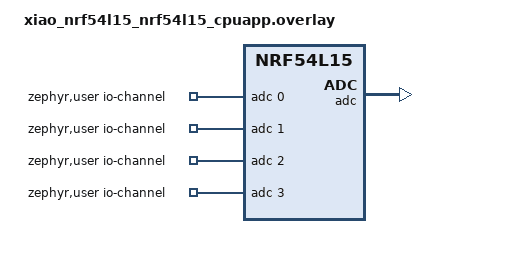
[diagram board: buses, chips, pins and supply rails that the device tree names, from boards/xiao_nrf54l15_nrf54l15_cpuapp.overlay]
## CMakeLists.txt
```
# SPDX-License-Identifier: Apache-2.0

cmake_minimum_required(VERSION 3.20.0)
# Boot-time reset reason readout, see lib/reset_reason
list(APPEND ZEPHYR_EXTRA_MODULES ${CMAKE_CURRENT_LIST_DIR}/../lib/reset_reason)
find_package(Zephyr REQUIRED HINTS $ENV{ZEPHYR_BASE})
project(adc_blink)

target_sources(app PRIVATE
  src/main.c
)
```

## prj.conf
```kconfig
CONFIG_ADC=y
CONFIG_PRINTK=y
CONFIG_PWM=y
CONFIG_LOG=y
```

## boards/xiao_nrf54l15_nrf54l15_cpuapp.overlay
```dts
/ {
    zephyr,user {
		/* XIAO nRF54L15 has 4 accessible analog pins:
		 * A0 = P1.04 (AIN0) - Potentiometer connected here
		 * A1 = P1.05 (AIN1)
		 * A2 = P1.06 (AIN2)
		 * A3 = P1.07 (AIN3)
		 */
		io-channels = <&adc 0>, <&adc 1>, <&adc 2>, <&adc 3>;
	};
};






&adc {
    status = "okay";
};
```

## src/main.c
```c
/*
 * ADC Variable Blink Sample
 * 
 * This sample demonstrates:
 * - Reading analog input from a potentiometer using ADC (Analog-to-Digital Converter)
 * - Converting ADC raw values to millivolts
 * - Controlling LED blink rate based on analog voltage
 * 
 * Hardware connections:
 * - Potentiometer connected to A0 (P1.04)
 * - Built-in LED on P2.0 will blink
 * 
 * Behavior:
 * - Turn pot LEFT (0V)    -> LED blinks SLOWLY (3.3 second intervals)
 * - Turn pot RIGHT (3.3V) -> LED blinks FAST (near-continuous)
 */

// Include Zephyr RTOS kernel functions (delays, threads, etc.)
#include <zephyr/kernel.h>

// Include ADC (Analog-to-Digital Converter) driver
#include <zephyr/drivers/adc.h>

// Include GPIO (General Purpose Input/Output) driver for LED control
#include <zephyr/drivers/gpio.h>

// Include logging system for debug output
#include <zephyr/logging/log.h>

// Register this module with the logging system
// Messages will appear with "adc_blink_example" prefix
LOG_MODULE_REGISTER(adc_blink_example, CONFIG_LOG_DEFAULT_LEVEL);

// ============================================================================
// ADC CONFIGURATION
// ============================================================================

// Compile-time check: Make sure the devicetree overlay file defines ADC channels
// If this fails, you forgot to include the board-specific overlay file
#if !DT_NODE_EXISTS(DT_PATH(zephyr_user)) || \
    !DT_NODE_HAS_PROP(DT_PATH(zephyr_user), io_channels)
#error "No suitable devicetree overlay specified for ADC channels"
#endif

// Macro helper: Gets ADC channel specifications from devicetree
// This is used by DT_FOREACH_PROP_ELEM below to build the adc_channels array
#define DT_SPEC_AND_COMMA(node_id, prop, idx) \
    ADC_DT_SPEC_GET_BY_IDX(node_id, idx),

// Array of ADC channel specifications from devicetree
// This is populated automatically from the overlay file which defines 4 channels (A0-A3)
static const struct adc_dt_spec adc_channels[] = {
    DT_FOREACH_PROP_ELEM(DT_PATH(zephyr_user), io_channels, DT_SPEC_AND_COMMA)
};

/* 
 * XIAO nRF54L15 has 4 accessible analog input pins:
 * 
 * Array Index | Header Pin | GPIO Pin | ADC Channel | Usage in this sample
 * ------------|------------|----------|-------------|---------------------
 *      0      |     A0     |  P1.04   |    AIN0     | Potentiometer input
 *      1      |     A1     |  P1.05   |    AIN1     | (unused)
 *      2      |     A2     |  P1.06   |    AIN2     | (unused)
 *      3      |     A3     |  P1.07   |    AIN3     | (unused)
 * 
 * To use a different pin, change this index (0-3)
 */
#define POTENTIOMETER_ADC_CHANNEL_IDX 0

// ============================================================================
// LED CONFIGURATION
// ============================================================================

// Get the devicetree node for the built-in LED
// "led0" is an alias defined in the board's devicetree files
#define LED0_NODE DT_ALIAS(led0)

// Get the GPIO specification (port, pin, flags) for the LED
// This LED is on P2.0 (GPIO port 2, pin 0)
static const struct gpio_dt_spec led = GPIO_DT_SPEC_GET(LED0_NODE, gpios);

// ============================================================================
// TIMING CONFIGURATION
// ============================================================================

// Minimum blink delay (when voltage is at maximum)
#define MIN_BLINK_MS 1

// Maximum blink delay (when voltage is at minimum)
// Set to 3330 to match the typical max voltage (3.3V = 3300mV)
#define MAX_BLINK_MS 3330

// ============================================================================
// MAIN FUNCTION
// ============================================================================

int main(void)
{
    // Return value for error checking (negative = error, 0 or positive = success)
    int ret;
    
    // Variable to store the raw ADC reading (0-4095 for 12-bit resolution)
    uint16_t adc_raw_value;
    
    // Variable to store the voltage in millivolts (mV)
    // Will be automatically calculated from raw value
    int32_t adc_millivolts;

    // Print startup message to console
    LOG_INF("Starting ADC Blink Example...");
    LOG_INF("Connect potentiometer to A0 (P1.04)");
    LOG_INF("Turn LEFT for slow blink, RIGHT for fast blink");

    // ========================================================================
    // STEP 1: Initialize the ADC
    // ========================================================================
    
    // Check if the ADC device is ready to use
    if (!adc_is_ready_dt(&adc_channels[POTENTIOMETER_ADC_CHANNEL_IDX])) {
        LOG_ERR("ADC controller device %s not ready", 
                adc_channels[POTENTIOMETER_ADC_CHANNEL_IDX].dev->name);
        return 0;  // Exit if ADC is not available
    }

    // Configure the ADC channel with settings from devicetree
    // (resolution, gain, reference voltage, etc.)
    ret = adc_channel_setup_dt(&adc_channels[POTENTIOMETER_ADC_CHANNEL_IDX]);
    if (ret < 0) {
        LOG_ERR("Could not setup ADC channel for potentiometer (%d)", ret);
        return 0;  // Exit if setup failed
    }
    
    LOG_INF("✓ ADC device %s, channel %d ready",
            adc_channels[POTENTIOMETER_ADC_CHANNEL_IDX].dev->name,
            adc_channels[POTENTIOMETER_ADC_CHANNEL_IDX].channel_id);

    // ========================================================================
    // STEP 2: Initialize the LED
    // ========================================================================
    
    // Check if the GPIO port for the LED is ready
    if (!gpio_is_ready_dt(&led)) {
        LOG_ERR("LED GPIO device is not ready");
        return 0;  // Exit if GPIO is not available
    }
    
    // Configure the LED pin as an output, starting in the OFF state
    ret = gpio_pin_configure_dt(&led, GPIO_OUTPUT_INACTIVE);
    if (ret < 0) {
        LOG_ERR("Failed to configure LED GPIO (%d)", ret);
        return 0;  // Exit if configuration failed
    }
    
    LOG_INF("✓ LED ready on P2.0");

    // ========================================================================
    // STEP 3: Configure ADC Reading Sequence
    // ========================================================================
    
    /*
     * An ADC sequence tells the ADC driver:
     * - Where to store the result (buffer)
     * - How big the buffer is (buffer_size)
     * - What resolution to use (resolution, e.g., 12-bit = 0-4095)
     * 
     * This structure is initialized once and reused for each reading
     */
    struct adc_sequence sequence = {
        .buffer = &adc_raw_value,           // Store result in this variable
        .buffer_size = sizeof(adc_raw_value), // Size = 2 bytes (uint16_t)
        .resolution = adc_channels[POTENTIOMETER_ADC_CHANNEL_IDX].resolution, // 12 bits
    };

    // ========================================================================
    // STEP 4: Main Loop - Read ADC and Control LED
    // ========================================================================
    
    LOG_INF("Starting main loop...\n");
    
    while (1) {  // Infinite loop - runs forever
        
        // ====================================================================
        // Read the ADC value
        // ====================================================================
        
        // Initialize the sequence with channel-specific settings
        // This sets up things like which ADC input to read
        (void)adc_sequence_init_dt(&adc_channels[POTENTIOMETER_ADC_CHANNEL_IDX], &sequence);

        // Perform the actual ADC reading
        // The result will be stored in adc_raw_value (0-4095 for 12-bit)
        ret = adc_read(adc_channels[POTENTIOMETER_ADC_CHANNEL_IDX].dev, &sequence);
        if (ret < 0) {
            // If reading failed, log error and try again after 100ms
            LOG_ERR("ADC read failed: %d", ret);
            k_msleep(100);
            continue;  // Skip to next loop iteration
        }

        // Copy the raw value for display purposes
        int sensor_value = adc_raw_value;

        // ====================================================================
        // Convert raw ADC value to millivolts
        // ====================================================================
        
        /*
         * The ADC gives us a raw number (e.g., 2048 out of 4095)
         * We need to convert this to actual voltage in millivolts
         * 
         * The conversion accounts for:
         * - Reference voltage (internal or external)
         * - ADC gain setting (typically 1/4 for 0-3.3V range)
         * - Resolution (12-bit = 4096 possible values)
         * 
         * Example: If raw = 4095 (max), result might be 3300mV (3.3V)
         */
        adc_millivolts = sensor_value;
        ret = adc_raw_to_millivolts_dt(&adc_channels[POTENTIOMETER_ADC_CHANNEL_IDX], 
                                       &adc_millivolts);
        if (ret < 0) {
            // Conversion not supported on this platform - shouldn't happen
            LOG_WRN("Voltage conversion failed: %d", ret);
            k_msleep(100);
            continue;
        }

        // ====================================================================
        // Calculate blink delay from voltage
        // ====================================================================
        
        /*
         * INVERTED MAPPING:
         * - Low voltage (0mV)    -> Long delay (3330ms)  -> SLOW blink
         * - High voltage (3.3V)  -> Short delay (1ms)    -> FAST blink
         * 
         * Formula: delay = MAX - voltage + 1
         * 
         * Examples:
         *   0mV    -> 3330 - 0 + 1    = 3331ms (very slow)
         *   1650mV -> 3330 - 1650 + 1 = 1681ms (medium)
         *   3330mV -> 3330 - 3330 + 1 = 1ms    (very fast)
         */
        
        // Safety check: Clamp voltage to valid range to prevent integer underflow
        // (Sometimes ADC can read slightly above 3.3V due to noise)
        if (adc_millivolts > MAX_BLINK_MS) {
            adc_millivolts = MAX_BLINK_MS;  // Cap at 3330mV
        }
        
        // Calculate the blink delay using inverted formula
        uint32_t blink_delay_ms = MAX_BLINK_MS - adc_millivolts + 1;

        // ====================================================================
        // Toggle the LED
        // ====================================================================
        
        /*
         * gpio_pin_toggle_dt() changes the LED state:
         * - If LED is OFF, turn it ON
         * - If LED is ON, turn it OFF
         * 
         * By calling this in a loop with a delay, we create a blinking effect
         */
        ret = gpio_pin_toggle_dt(&led);
        if (ret < 0) {
            LOG_ERR("Failed to toggle LED: %d", ret);
        }

        // ====================================================================
        // Print debug information
        // ====================================================================
        
        // Show raw ADC value, converted voltage, and calculated delay
        // This appears in the serial console/terminal
        LOG_INF("ADC Raw = %4d  |  Voltage = %4d mV  |  Blink Delay = %4u ms",
                sensor_value, adc_millivolts, blink_delay_ms);

        // ====================================================================
        // Wait before next reading
        // ====================================================================
        
        /*
         * Sleep for the calculated delay
         * This serves two purposes:
         * 1. Creates the visible blink effect
         * 2. Controls how fast the LED toggles based on pot position
         * 
         * k_msleep() puts the CPU to sleep to save power
         */
        k_msleep(blink_delay_ms);
        
    }  // End of infinite loop
    
    // This line is never reached (infinite loop above)
    return 0;
}
```
